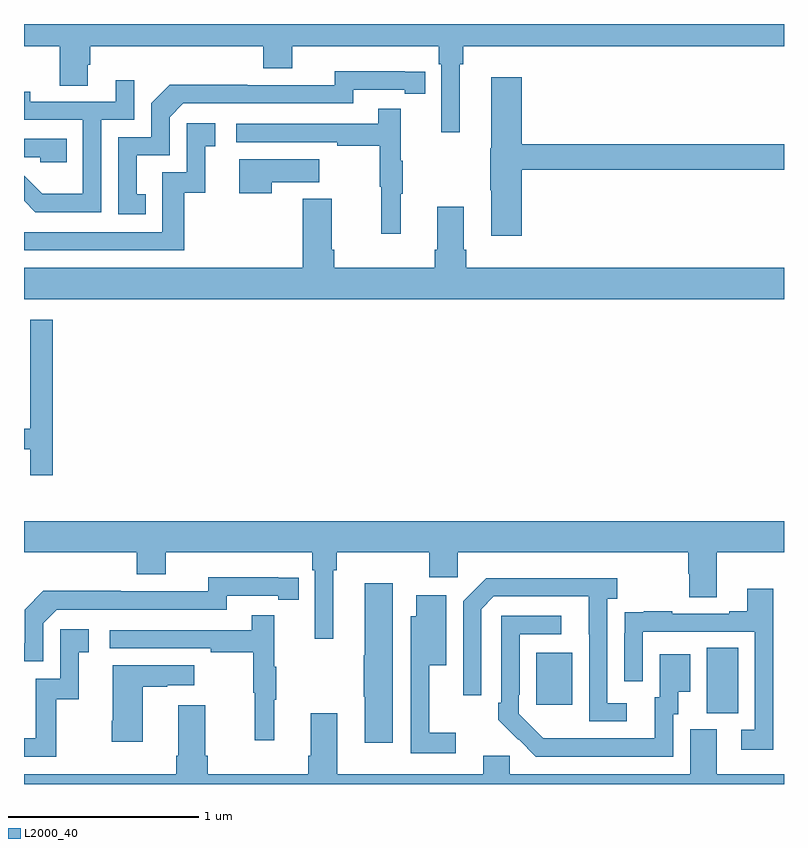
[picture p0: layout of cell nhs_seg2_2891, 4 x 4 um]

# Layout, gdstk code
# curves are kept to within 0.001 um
import gdstk
lib = gdstk.Library(unit=1e-6, precision=1e-09)
def R(c, l, rs):  # rectangles x0, y0, x1, y1
    for r in rs: c.add(gdstk.rectangle(r[:2], r[2:], *l))
def P(c, l, *ps):  # polygons
    for p in ps: c.add(gdstk.Polygon(p, *l))
L2000_40 = (2000, 40)

nhs_seg2_2891 = lib.new_cell('nhs_seg2_2891')
R(nhs_seg2_2891, L2000_40, [(266.594,596.173,266.758,596.516), (265.697,596.217,265.885,596.491)])
P(nhs_seg2_2891, L2000_40, [(265.294,599.588),(265.313,599.588),(265.313,599.684),(267,599.684),(267,599.8),(263,599.8),(263,599.684),(263.188,599.684),(263.188,599.476),(263.335,599.476),(263.335,599.586),(263.348,599.586),(263.348,599.684),(264.26,599.684),(264.26,599.567),(264.412,599.567),(264.412,599.684),(265.184,599.684),(265.184,599.588),(265.197,599.588),(265.197,599.229),(265.294,599.229)],
  [(263.642,598.905),(263.593,598.905),(263.593,599.109),(263.766,599.109),(263.766,599.31),(263.838,599.382),(264.732,599.382),(264.732,599.454),(265.004,599.454),(265.004,599.434),(265.112,599.434),(265.112,599.55),(264.636,599.551),(264.636,599.478),(264.176,599.478),(264.176,599.48),(263.768,599.48),(263.67,599.382),(263.67,599.205),(263.496,599.205),(263.496,598.8),(263.642,598.8)],
  [(265.619,599.032),(267,599.032),(267,599.168),(265.619,599.168),(265.619,599.521),(265.46,599.521),(265.46,599.145),(265.453,599.145),(265.453,598.924),(265.46,598.924),(265.46,598.686),(265.619,598.686)],
  [(263.406,599.295),(263.58,599.295),(263.58,599.503),(263.483,599.503),(263.483,599.391),(263.032,599.391),(263.032,599.443),(263,599.443),(263,599.295),(263.31,599.295),(263.31,598.906),(263.096,598.906),(263,599.002),(263,598.869),(263.06,598.809),(263.406,598.809)],
  [(264.983,598.907),(264.994,598.907),(264.994,599.081),(264.983,599.081),(264.983,599.353),(264.865,599.353),(264.865,599.274),(264.117,599.274),(264.117,599.178),(264.649,599.178),(264.649,599.158),(264.873,599.158),(264.873,598.944),(264.88,598.944),(264.88,598.695),(264.983,598.695)],
  [(263.843,598.911),(263.954,598.911),(263.954,599.157),(264.007,599.157),(264.007,599.278),(263.856,599.278),(263.856,599.019),(263.727,599.019),(263.727,598.704),(263,598.704),(263,598.608),(263.843,598.608)],
  [(263.225,599.196),(263,599.196),(263,599.1),(263.085,599.1),(263.085,599.073),(263.225,599.073)],
  [(264.305,598.967),(264.553,598.967),(264.553,599.089),(264.134,599.089),(264.134,598.908),(264.305,598.908)],
  [(267,598.516),(265.328,598.516),(265.328,598.612),(265.315,598.612),(265.315,598.837),(265.175,598.837),(265.175,598.612),(265.163,598.612),(265.163,598.516),(264.632,598.516),(264.632,598.612),(264.619,598.612),(264.619,598.879),(264.467,598.879),(264.467,598.516),(263,598.516),(263,598.352),(267,598.352)],
  [(263.15,598.243),(263.034,598.243),(263.034,597.669),(263,597.669),(263,597.561),(263.033,597.561),(263.033,597.426),(263.15,597.426)],
  [(264.628,596.924),(264.647,596.924),(264.647,597.02),(265.133,597.02),(265.133,596.889),(265.284,596.889),(265.284,597.02),(266.495,597.02),(266.495,596.907),(266.5,596.907),(266.5,596.782),(266.647,596.782),(266.647,597.02),(267,597.02),(267,597.184),(263,597.184),(263,597.02),(263.594,597.02),(263.594,596.903),(263.746,596.903),(263.746,597.02),(264.518,597.02),(264.518,596.924),(264.531,596.924),(264.531,596.565),(264.628,596.565)],
  [(263.1,596.646),(263.172,596.718),(264.066,596.718),(264.066,596.79),(264.338,596.79),(264.338,596.77),(264.446,596.77),(264.446,596.886),(263.97,596.887),(263.97,596.814),(263.51,596.814),(263.51,596.816),(263.102,596.816),(263.004,596.718),(263.004,596.541),(263,596.541),(263,596.445),(263.1,596.445)],
  [(266.173,596.226),(266.07,596.226),(266.07,596.774),(266.122,596.774),(266.122,596.884),(265.434,596.884),(265.311,596.761),(265.311,596.268),(265.407,596.268),(265.407,596.721),(265.473,596.787),(265.973,596.787),(265.974,596.13),(266.173,596.13)],
  [(264.94,596.857),(264.794,596.857),(264.794,596.477),(264.787,596.477),(264.787,596.26),(264.794,596.26),(264.794,596.016),(264.94,596.016)],
  [(266.943,596.827),(266.807,596.827),(266.807,596.71),(266.711,596.71),(266.711,596.697),(266.411,596.697),(266.411,596.71),(266.263,596.71),(266.263,596.703),(266.161,596.703),(266.161,596.594),(266.16,596.594),(266.16,596.34),(266.256,596.34),(266.256,596.601),(266.847,596.601),(266.847,596.085),(266.775,596.085),(266.775,595.98),(266.943,595.98)],
  [(265.273,596.071),(265.133,596.071),(265.133,596.426),(265.222,596.426),(265.222,596.794),(265.064,596.794),(265.064,596.683),(265.035,596.683),(265.035,595.962),(265.273,595.962)],
  [(264.317,596.243),(264.328,596.243),(264.328,596.417),(264.317,596.417),(264.317,596.689),(264.199,596.689),(264.199,596.61),(263.451,596.61),(263.451,596.514),(263.983,596.514),(263.983,596.494),(264.207,596.494),(264.207,596.28),(264.214,596.28),(264.214,596.031),(264.317,596.031)],
  [(266.418,596.166),(266.443,596.166),(266.443,596.285),(266.506,596.285),(266.506,596.482),(266.345,596.482),(266.345,596.256),(266.321,596.256),(266.321,596.04),(265.734,596.041),(265.605,596.169),(265.605,596.269),(265.608,596.269),(265.608,596.589),(265.828,596.589),(265.828,596.685),(265.512,596.685),(265.512,596.227),(265.497,596.227),(265.497,596.139),(265.694,595.944),(266.418,595.944)],
  [(263.17,596.247),(263.288,596.247),(263.288,596.493),(263.341,596.493),(263.341,596.614),(263.19,596.614),(263.19,596.355),(263.061,596.355),(263.061,596.04),(263,596.04),(263,595.944),(263.17,595.944)],
  [(263.626,596.311),(263.753,596.311),(263.753,596.321),(263.896,596.321),(263.896,596.425),(263.468,596.425),(263.468,596.134),(263.461,596.134),(263.461,596.022),(263.626,596.022)],
  [(267,595.852),(266.647,595.852),(266.647,596.088),(266.507,596.088),(266.507,595.852),(265.557,595.852),(265.557,595.95),(265.418,595.95),(265.418,595.852),(264.649,595.852),(264.649,596.173),(264.509,596.173),(264.509,595.948),(264.497,595.948),(264.497,595.852),(263.966,595.852),(263.966,595.948),(263.953,595.948),(263.953,596.215),(263.813,596.215),(263.813,595.948),(263.801,595.948),(263.801,595.852),(263,595.852),(263,595.8),(267,595.8)])

lib.write_gds('nhs_seg2_2891.gds')
